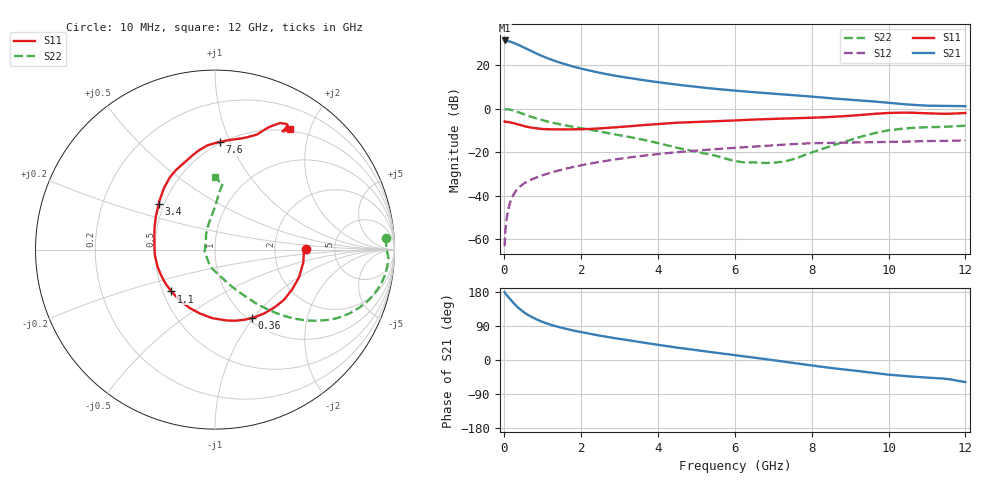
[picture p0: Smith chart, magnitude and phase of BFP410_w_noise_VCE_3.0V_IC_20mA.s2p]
! Infineon Technologies  Discrete & RF Semiconductors
! BFP410
! VCE =  3.0 V,  IC =  20 mA
! Common Emitter S-Parameters:  Nov 2015
# GHz  S  MA  R  50
!  f  S11  S21  S12  S22
! GHz  MAG  ANG  MAG  ANG  MAG  ANG  MAG  ANG
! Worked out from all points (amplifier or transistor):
!   243 points, 10 MHz to 12 GHz, reference 50 ohm
!   highest |S21| = 31.2 dB at 10 MHz (marker M1)
!   |S21| within 3 dB of that: start of sweep to 482.9 MHz
!   unconditionally stable (mu >= 1): start of sweep to 15.15 MHz; 1.873 GHz to end of sweep
!   at 240 MHz: K = 0.27, MSG = 34.9 dB, |S12| = -39.6 dB
!   at 1.84 GHz: K = 0.99, MSG = 22.8 dB, |S12| = -26.6 dB
!   at 12 GHz: K = 1.02, MAG = 6.9 dB, |S12| = -14.6 dB
!   lowest NFmin = 1.70 dB at 900 MHz
!   S11 on the Smith chart (normalised r, x): 10 MHz: 3.04, +0.01; 360 MHz: 1.05, -0.99; 1.1 GHz: 0.55, -0.29; 3.4 GHz: 0.47, +0.28; 7.6 GHz: 0.49, +0.92; 12 GHz: 0.47, +1.70
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0.01  0.5046 0.1  36.43 179.0  0.0007 104.1  0.9528 3.8
0.02  0.4954 -2.2  36.19 176.7  0.0012 92.9  0.9567 0.0
0.055  0.4962 -9.5  35.62 172.3  0.0026 86.0  0.9672 -3.5
0.1  0.4931 -18.2  35.25 166.9  0.0047 83.3  0.9616 -7.6
0.185  0.4769 -33.3  33.61 156.7  0.0084 77.7  0.9296 -14.1
0.26  0.4592 -45.7  31.74 148.3  0.0113 74.0  0.8914 -19.3
0.36  0.4336 -61.4  29.13 138.5  0.0148 69.7  0.8319 -25.2
0.5  0.4006 -80.5  25.36 126.9  0.0188 65.6  0.7494 -31.4
0.6  0.3822 -92.3  22.9 119.9  0.0212 63.7  0.6966 -34.7
0.7  0.3662 -103.1  20.76 114.1  0.0235 62.4  0.6497 -37.5
0.9  0.347 -121.2  17.25 104.4  0.0277 60.6  0.5728 -41.7
1.1  0.3364 -136.1  14.56 96.7  0.0317 59.7  0.5122 -44.8
1.46  0.3322 -156.7  11.23 85.9  0.039 58.4  0.4333 -49.1
2.02  0.3368 -179.9  8.169 73.1  0.0505 55.8  0.3531 -54.0
2.6  0.357 160.9  6.309 62.2  0.0624 52.0  0.2844 -59.2
3.4  0.403 141.3  4.787 49.4  0.0786 46.0  0.2104 -67.6
4.1  0.4498 128.2  3.918 38.6  0.0924 40.2  0.1543 -77.9
6.1  0.5393 103.5  2.532 11.6  0.1275 23.1  0.0607 -143.1
7.6  0.6003 87.5  2.007 -8.7  0.1545 8.8  0.0727 134.2
8.2  0.6256 79.4  1.815 -17.1  0.1614 2.0  0.1131 113.8
10.2  0.7993 61.5  1.305 -40.4  0.1729 -14.4  0.3328 85.0
12  0.7915 58.1  1.134 -58.2  0.186 -30.0  0.4053 90.3
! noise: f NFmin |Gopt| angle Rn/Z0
0.45  1.73  0.14  -155  0.16
0.9  1.7  0.14  -156  0.16
1.8  1.84  0.19  -141  0.17
2.4  1.84  0.24  -124  0.23
5.5  2.72  0.43  -103  0.42
10  3.83  0.7  -46  2.5
